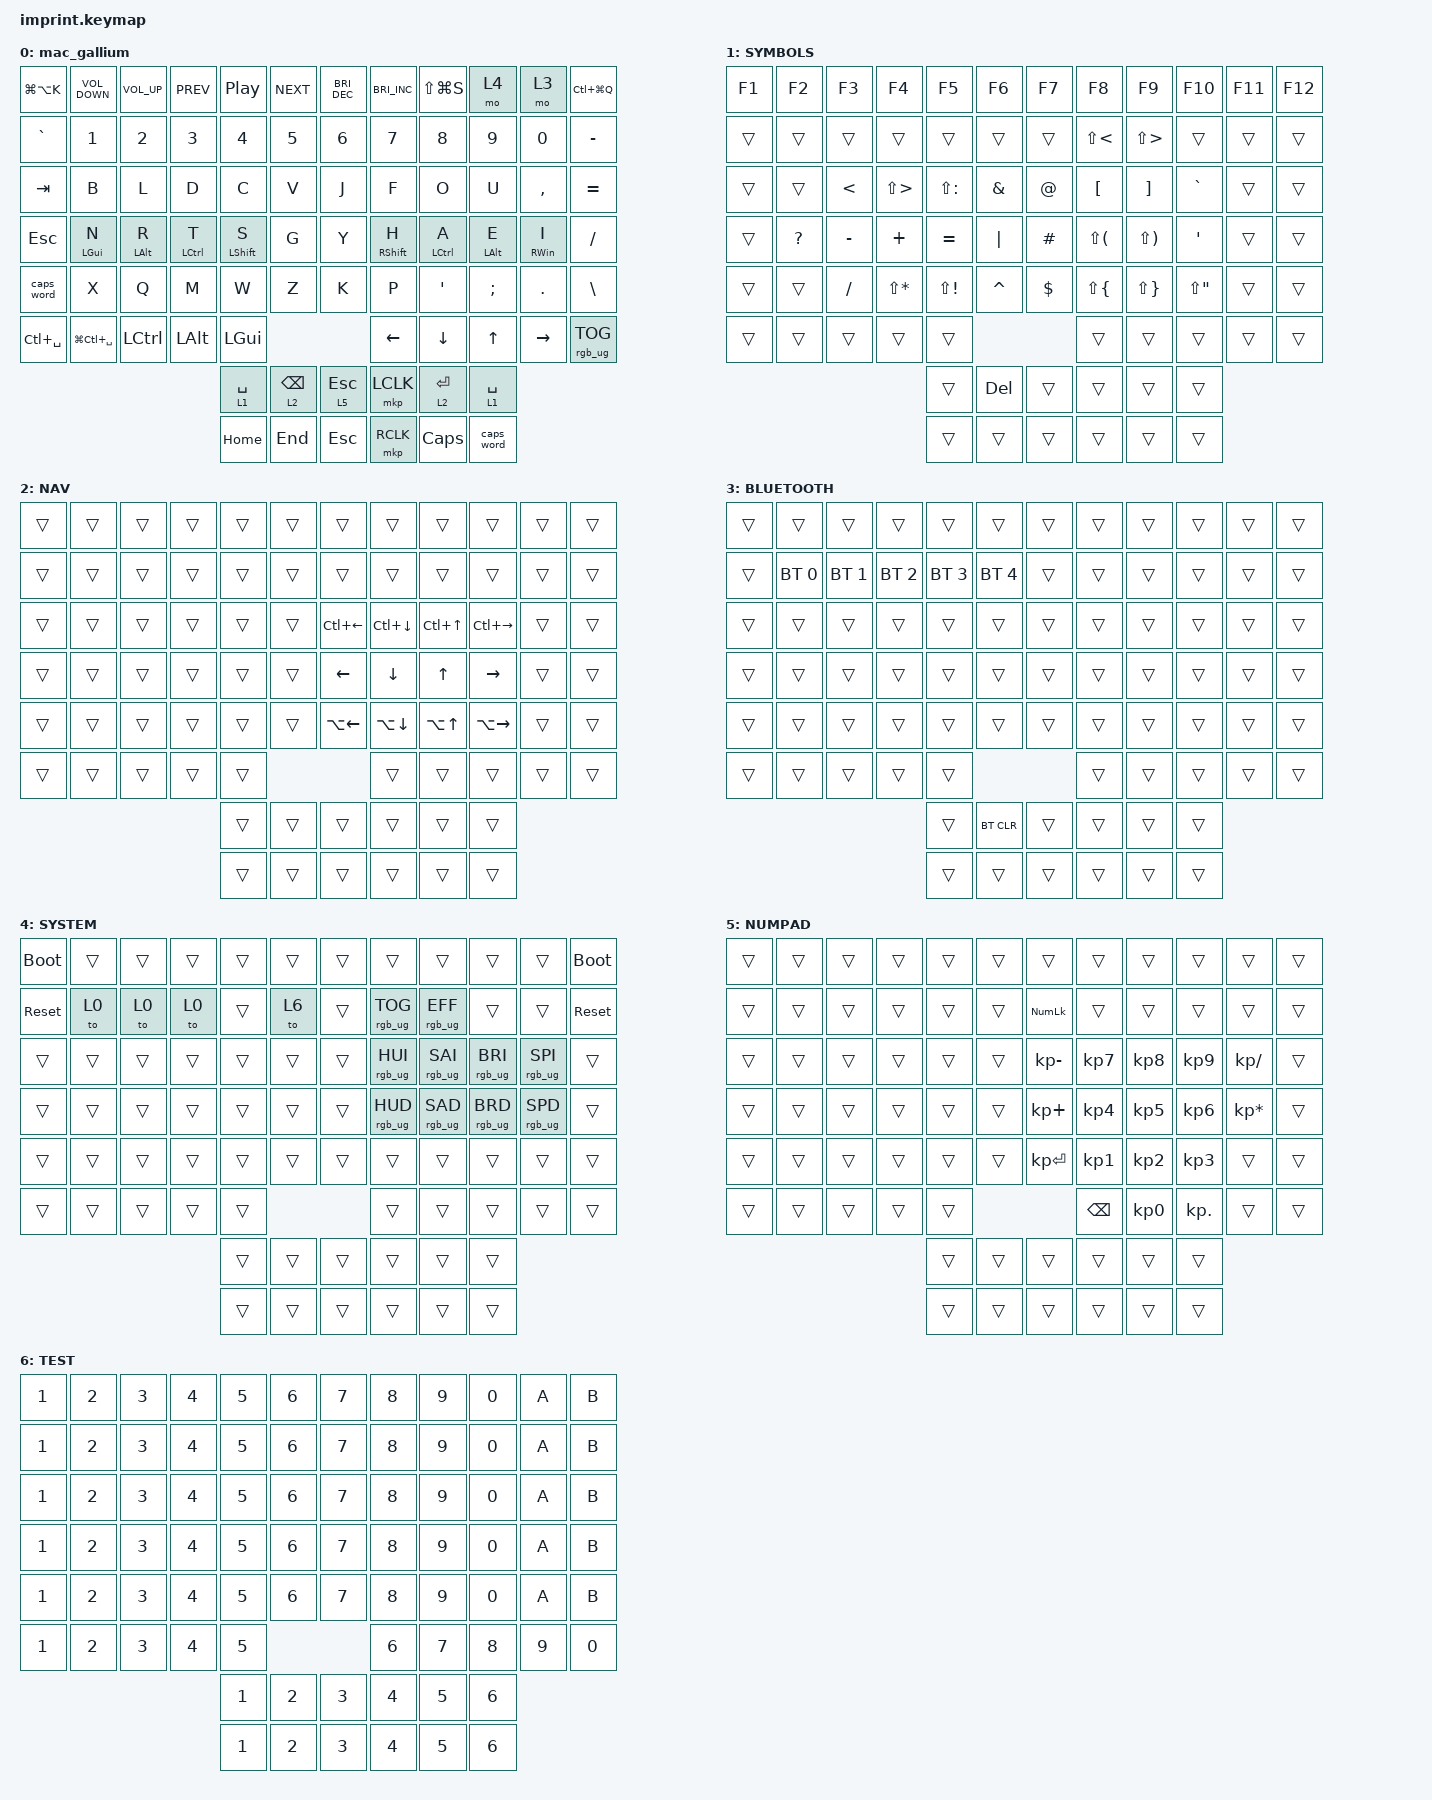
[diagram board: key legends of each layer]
#include <input/processors.dtsi>
#include <dt-bindings/zmk/input_transform.h>
#include <behaviors.dtsi>
#include <dt-bindings/zmk/bt.h>
#include <dt-bindings/zmk/keys.h>
#include <dt-bindings/zmk/pointing.h>
#include <dt-bindings/zmk/rgb.h>

&mt {
    flavor = "balanced";
    tapping-term-ms = <220>;
    quick-tap-ms = <175>;
};

&lt { quick-tap-ms = <150>; };

/ {
    chosen { zmk,matrix-transform = &imprint_function_row_full_bottom_row; };

    combos { compatible = "zmk,combos"; };

    behaviors {
        hml: hml {
            compatible = "zmk,behavior-hold-tap";
            label = "LEFT_SLOW_HOME_ROW_MODS";
            bindings = <&kp>, <&kp>;

            #binding-cells = <2>;
            tapping-term-ms = <280>;
            quick-tap-ms = <175>;
            flavor = "balanced";
            hold-trigger-on-release;
            hold-trigger-key-positions = <6 7 8 9 10 11 18 19 20 21 22 23 30 31 32 33 34 35 42 43 44 45 46 47 54 55 56 57 58 59 65 66 67 68 69 70 73 76 77 71 72 78 74 80 75 81 79>;
            require-prior-idle-ms = <150>;
        };

        hmr: hmr {
            compatible = "zmk,behavior-hold-tap";
            label = "HMR";
            bindings = <&kp>, <&kp>;

            #binding-cells = <2>;
            tapping-term-ms = <280>;
            quick-tap-ms = <175>;
            flavor = "balanced";
            hold-trigger-on-release;
            hold-trigger-key-positions = <0 1 2 3 4 5 12 13 14 15 16 17 24 25 26 27 28 29 36 37 38 39 40 41 48 49 50 51 52 53 60 61 62 63 64 70 71 72 76 77 78 73 74 75 79 80 81>;
            require-prior-idle-ms = <150>;
        };

        hml_fast: hml_fast {
            compatible = "zmk,behavior-hold-tap";
            label = "HML_FAST";
            bindings = <&kp>, <&kp>;

            #binding-cells = <2>;
            tapping-term-ms = <200>;
            quick-tap-ms = <175>;
            hold-trigger-key-positions = <18 19 20 21 22 23 30 31 32 33 34 35 42 43 44 45 46 47 54 55 56 57 58 59 70 71 72 73 74 75 76 77 78 79 80 81 65 66 67 68 69 6 7 8 9 10 11>;
            require-prior-idle-ms = <80>;
            flavor = "balanced";
            hold-trigger-on-release;
        };

        hmr_fast: hmr_fast {
            compatible = "zmk,behavior-hold-tap";
            label = "HMR_FAST";
            bindings = <&kp>, <&kp>;

            #binding-cells = <2>;
            tapping-term-ms = <200>;
            quick-tap-ms = <175>;
            hold-trigger-key-positions = <12 13 14 15 16 17 24 25 26 27 28 29 36 37 38 39 40 41 48 49 50 51 52 53 60 61 62 63 64 70 71 72 73 74 75 76 77 78 79 80 81 0 1 2 3 4 5>;
            require-prior-idle-ms = <80>;
            flavor = "balanced";
        };
    };

    keymap {
        compatible = "zmk,keymap";

        mac_gallium {
            bindings = <
&kp LG(LA(K))  &kp C_VOLUME_DOWN  &kp C_VOLUME_UP   &kp C_PREV           &kp C_PLAY_PAUSE        &kp C_NEXT                       &kp C_BRIGHTNESS_DEC  &kp C_BRIGHTNESS_INC     &kp LS(LG(S))     &mo 4            &mo 3             &kp LC(LG(Q))
&kp GRAVE      &kp N1             &kp N2            &kp N3               &kp N4                  &kp N5                           &kp N6                &kp N7                   &kp N8            &kp N9           &kp N0            &kp MINUS
&kp TAB        &kp B              &kp L             &kp D                &kp C                   &kp V                            &kp J                 &kp F                    &kp O             &kp U            &kp COMMA         &kp EQUAL
&kp ESCAPE     &hml LEFT_GUI N    &hml LEFT_ALT R   &hml LEFT_CONTROL T  &hml_fast LEFT_SHIFT S  &kp G                            &kp Y                 &hmr_fast RIGHT_SHIFT H  &hmr LCTRL A      &hmr LEFT_ALT E  &hmr RIGHT_WIN I  &kp SLASH
&caps_word     &kp X              &kp Q             &kp M                &kp W                   &kp Z                            &kp K                 &kp P                    &kp SINGLE_QUOTE  &kp SEMICOLON    &kp PERIOD        &kp BACKSLASH
&kp LC(SPACE)  &kp LG(LC(SPACE))  &kp LEFT_CONTROL  &kp LALT             &kp LEFT_GUI                                                                   &kp LEFT                 &kp DOWN          &kp UP_ARROW     &kp RIGHT         &rgb_ug RGB_TOG
                                                                         &lt 1 SPACE             &lt 2 BACKSPACE  &lt 5 ESCAPE    &mkp LCLK             &lt 2 ENTER              &lt 1 SPACE
                                                                         &kp HOME                &kp END          &kp ESCAPE      &mkp RCLK             &kp CAPS                 &caps_word
            >;
        };

        SYMBOLS {
            bindings = <
&kp F1  &kp F2        &kp F3         &kp F4                &kp F5               &kp F6               &kp F7       &kp F8                    &kp F9                     &kp F10                &kp F11  &kp F12
&trans  &trans        &trans         &trans                &trans               &trans               &trans       &kp LS(LT)                &kp LS(GREATER_THAN)       &trans                 &trans   &trans
&trans  &trans        &kp LESS_THAN  &kp LS(GREATER_THAN)  &kp LS(COLON)        &kp AMPS             &kp AT_SIGN  &kp LEFT_BRACKET          &kp RIGHT_BRACKET          &kp GRAVE              &trans   &trans
&trans  &kp QUESTION  &kp MINUS      &kp PLUS              &kp EQUAL            &kp PIPE             &kp HASH     &kp LS(LEFT_PARENTHESIS)  &kp LS(RIGHT_PARENTHESIS)  &kp SINGLE_QUOTE       &trans   &trans
&trans  &trans        &kp FSLH       &kp LS(STAR)          &kp LS(EXCLAMATION)  &kp CARET            &kp DOLLAR   &kp LS(LEFT_BRACE)        &kp LS(RIGHT_BRACE)        &kp LS(DOUBLE_QUOTES)  &trans   &trans
&trans  &trans        &trans         &trans                &trans                                                 &trans                    &trans                     &trans                 &trans   &trans
                                                           &trans               &kp DEL    &trans    &trans       &trans                    &trans
                                                           &trans               &trans     &trans    &trans       &trans                    &trans
            >;
        };

        NAV {
            bindings = <
&trans  &trans  &trans  &trans  &trans  &trans            &trans              &trans          &trans            &trans         &trans  &trans
&trans  &trans  &trans  &trans  &trans  &trans            &trans              &trans          &trans            &trans         &trans  &trans
&trans  &trans  &trans  &trans  &trans  &trans            &kp LC(LEFT_ARROW)  &kp LC(DOWN)    &kp LC(UP_ARROW)  &kp LC(RIGHT)  &trans  &trans
&trans  &trans  &trans  &trans  &trans  &trans            &kp LEFT            &kp DOWN_ARROW  &kp UP_ARROW      &kp RIGHT      &trans  &trans
&trans  &trans  &trans  &trans  &trans  &trans            &kp LA(LEFT)        &kp LA(DOWN)    &kp LA(UP_ARROW)  &kp LA(RIGHT)  &trans  &trans
&trans  &trans  &trans  &trans  &trans                                        &trans          &trans            &trans         &trans  &trans
                                &trans  &trans  &trans    &trans              &trans          &trans
                                &trans  &trans  &trans    &trans              &trans          &trans
            >;
        };

        BLUETOOTH {
            bindings = <
&trans  &trans        &trans        &trans        &trans        &trans                  &trans  &trans  &trans  &trans  &trans  &trans
&trans  &bt BT_SEL 0  &bt BT_SEL 1  &bt BT_SEL 2  &bt BT_SEL 3  &bt BT_SEL 4            &trans  &trans  &trans  &trans  &trans  &trans
&trans  &trans        &trans        &trans        &trans        &trans                  &trans  &trans  &trans  &trans  &trans  &trans
&trans  &trans        &trans        &trans        &trans        &trans                  &trans  &trans  &trans  &trans  &trans  &trans
&trans  &trans        &trans        &trans        &trans        &trans                  &trans  &trans  &trans  &trans  &trans  &trans
&trans  &trans        &trans        &trans        &trans                                        &trans  &trans  &trans  &trans  &trans
                                                  &trans        &bt BT_CLR    &trans    &trans  &trans  &trans
                                                  &trans        &trans        &trans    &trans  &trans  &trans
            >;
        };

        SYSTEM {
            bindings = <
&bootloader  &trans  &trans  &trans  &trans  &trans            &trans  &trans           &trans           &trans           &trans           &bootloader
&sys_reset   &to 0   &to 0   &to 0   &trans  &to 6             &trans  &rgb_ug RGB_TOG  &rgb_ug RGB_EFF  &trans           &trans           &sys_reset
&trans       &trans  &trans  &trans  &trans  &trans            &trans  &rgb_ug RGB_HUI  &rgb_ug RGB_SAI  &rgb_ug RGB_BRI  &rgb_ug RGB_SPI  &trans
&trans       &trans  &trans  &trans  &trans  &trans            &trans  &rgb_ug RGB_HUD  &rgb_ug RGB_SAD  &rgb_ug RGB_BRD  &rgb_ug RGB_SPD  &trans
&trans       &trans  &trans  &trans  &trans  &trans            &trans  &trans           &trans           &trans           &trans           &trans
&trans       &trans  &trans  &trans  &trans                            &trans           &trans           &trans           &trans           &trans
                                     &trans  &trans  &trans    &trans  &trans           &trans
                                     &trans  &trans  &trans    &trans  &trans           &trans
            >;
        };

        NUMPAD {
            bindings = <
&trans  &trans  &trans  &trans  &trans  &trans            &trans          &trans           &trans           &trans           &trans           &trans
&trans  &trans  &trans  &trans  &trans  &trans            &kp KP_NUMLOCK  &trans           &trans           &trans           &trans           &trans
&trans  &trans  &trans  &trans  &trans  &trans            &kp KP_MINUS    &kp KP_NUMBER_7  &kp KP_NUMBER_8  &kp KP_NUMBER_9  &kp KP_DIVIDE    &trans
&trans  &trans  &trans  &trans  &trans  &trans            &kp KP_PLUS     &kp KP_NUMBER_4  &kp KP_NUMBER_5  &kp KP_NUMBER_6  &kp KP_MULTIPLY  &trans
&trans  &trans  &trans  &trans  &trans  &trans            &kp KP_ENTER    &kp KP_NUMBER_1  &kp KP_NUMBER_2  &kp KP_NUMBER_3  &trans           &trans
&trans  &trans  &trans  &trans  &trans                                    &kp BACKSPACE    &kp KP_NUMBER_0  &kp KP_DOT       &trans           &trans
                                &trans  &trans  &trans    &trans          &trans           &trans
                                &trans  &trans  &trans    &trans          &trans           &trans
            >;
        };

        TEST {
            bindings = <
&kp N1  &kp N2  &kp N3  &kp N4  &kp N5  &kp N6            &kp N7  &kp N8  &kp N9  &kp N0  &kp A   &kp B
&kp N1  &kp N2  &kp N3  &kp N4  &kp N5  &kp N6            &kp N7  &kp N8  &kp N9  &kp N0  &kp A   &kp B
&kp N1  &kp N2  &kp N3  &kp N4  &kp N5  &kp N6            &kp N7  &kp N8  &kp N9  &kp N0  &kp A   &kp B
&kp N1  &kp N2  &kp N3  &kp N4  &kp N5  &kp N6            &kp N7  &kp N8  &kp N9  &kp N0  &kp A   &kp B
&kp N1  &kp N2  &kp N3  &kp N4  &kp N5  &kp N6            &kp N7  &kp N8  &kp N9  &kp N0  &kp A   &kp B
&kp N1  &kp N2  &kp N3  &kp N4  &kp N5                            &kp N6  &kp N7  &kp N8  &kp N9  &kp N0
                                &kp N1  &kp N2  &kp N3    &kp N4  &kp N5  &kp N6
                                &kp N1  &kp N2  &kp N3    &kp N4  &kp N5  &kp N6
            >;
        };
    };
};

//left hand trackball configuration

&trackball_central_listener {
    input-processors =
        // activate layer 3 within 500ms of the trackball moving,,,,,,,,,,,,,,,,,,,,,,,,
        // <&zip_temp_layer 3 500>;,,,,,,,,,,,,,,,,,,,,,,,
        // <&zip_xy_scaler 1 16>,,,,,,,,,,,,,,,,,,,,,,,,
        <&zip_xy_to_scroll_mapper>,
        <&zip_scroll_transform INPUT_TRANSFORM_X_INVERT>;

    mouser {
        layers = <3>;
        input-processors = <&zip_xy_scaler 1 1>;

        // process-next;,,,,
    };
};

// right hand trackball configuration

&trackball_peripheral_listener {
    input-processors =
        // activate layer 3 within 500ms of the trackball moving,,,,,,,,,,,,,,,,,,,,,,,,
        // <&zip_temp_layer 3 500>;,,,,,,,,,,,,,,,,,,,,,,
        <&zip_xy_scaler 1 1>;

    scroller {
        layers = <3>;
        input-processors =
            // <&zip_xy_scaler 1 16>,,,,,,,,,,,,,,,,,,,,,,,,
            <&zip_xy_to_scroll_mapper>,
            <&zip_scroll_transform INPUT_TRANSFORM_X_INVERT>;

        process-next;
    };
};
